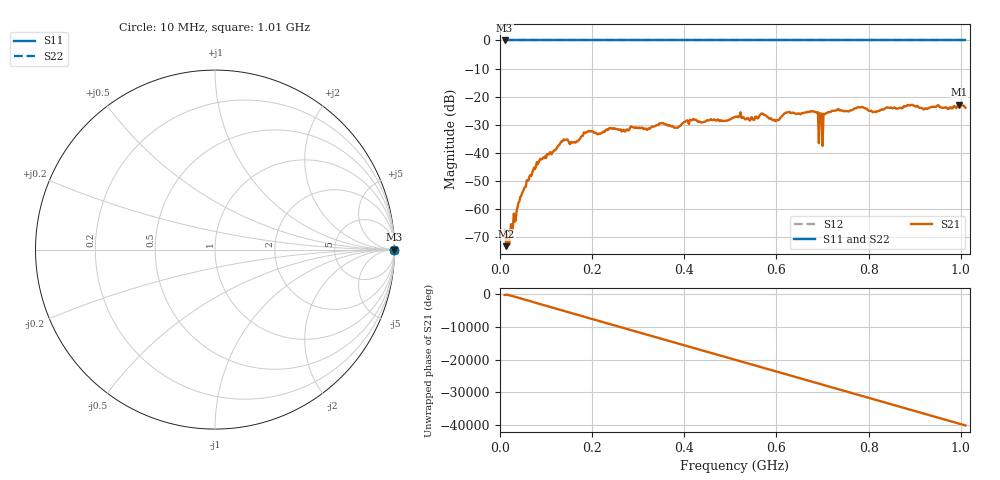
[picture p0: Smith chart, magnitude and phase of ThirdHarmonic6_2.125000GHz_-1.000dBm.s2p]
! 8/17/2025 1:24:08 AM
! C:\ANRITSUVNA\TEMP\TEMP.S2P
! CHANNEL.1
! TR.MEASUREMENT
! RAW.DATA
! RF.CORRECTION.OFF
! AVERAGING.OFF
! IF.BANDWIDTH: 5KHZ
! SWEEPTYPE:  FREQ.SWEEP(Linear)
! Reference Plane Port Info
! PORT:  PORT1  PORT2
! DISTANCE:  0  m  0  m
! TIME:  0  s  0  s
! PHASE.OFFSET:  0  deg.  0  deg.
! LOSS:  0  dB  0  dB
! REF.LOSS:  0  dB  0  dB
! REF.FREQ:  0  Hz  0  Hz
! Power Info
! POWER:  -20  dBm  -20  dBm
! EFF.POWER:  -20  dBm  -20  dBm
! SOURCE.ATTEN:  0  dB  0  dB
! TEST.ATTEN:  0  dB  0  dB
# GHZ S RI R 50.0
! FREQ.GHZ  S11RE  S11IM  S21RE  S21IM  S12RE  S12IM  S22RE  S22IM
!; PortSelection: Port_12
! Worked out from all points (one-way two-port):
!   501 points, 10 MHz to 1.01 GHz, reference 50 ohm
!   highest |S21| = -22.78 dB at 996 MHz (marker M1); lowest = -73.2 dB at 14 MHz (marker M2)
!   lowest |S11| = 0.0 dB at 10 MHz (marker M3)
!   |S11| at or under -10 dB: nowhere
!   |S22| runs from 0.0 to 0.0 dB; largest |S21 - S12| = 1.1
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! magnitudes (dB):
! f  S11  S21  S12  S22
! 10 MHz  0.0  -67.4  0.0  0.0
! 14 MHz  0.0  -73.2  0.0  0.0
! 18 MHz  0.0  -71.1  0.0  0.0
! 48 MHz  0.0  -54.3  0.0  0.0
! 84 MHz  0.0  -43.3  0.0  0.0
! 136 MHz  0.0  -35.8  0.0  0.0
! 178 MHz  0.0  -34.0  0.0  0.0
! 344 MHz  0.0  -30.1  0.0  0.0
! 382 MHz  0.0  -31.0  0.0  0.0
! 416 MHz  0.0  -28.4  0.0  0.0
! 510 MHz  0.0  -27.2  0.0  0.0
! 570 MHz  0.0  -26.0  0.0  0.0
! 600 MHz  0.0  -28.4  0.0  0.0
! 624 MHz  0.0  -25.5  0.0  0.0
! 678 MHz  0.0  -25.3  0.0  0.0
! 686 MHz  0.0  -25.6  0.0  0.0
! 696 MHz  0.0  -26.0  0.0  0.0
! 706 MHz  0.0  -26.1  0.0  0.0
! 722 MHz  0.0  -25.0  0.0  0.0
! 844 MHz  0.0  -24.0  0.0  0.0
! 996 MHz  0.0  -22.8  0.0  0.0
! 1.01 GHz  0.0  -23.9  0.0  0.0
